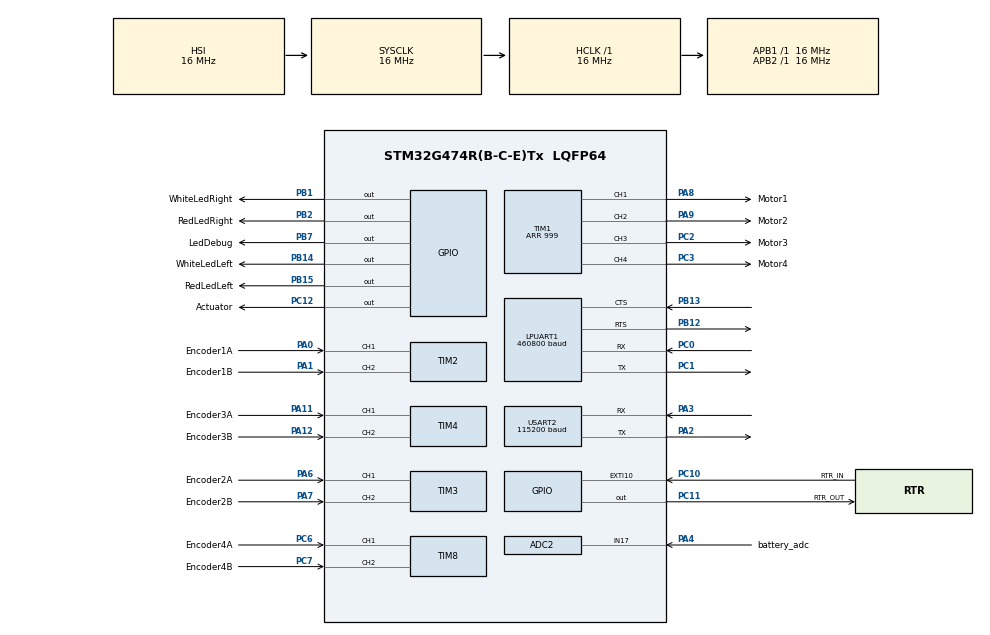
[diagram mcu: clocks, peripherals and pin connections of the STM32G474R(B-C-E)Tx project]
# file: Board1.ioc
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ADC1.Channel-1\#ChannelRegularConversion=ADC_CHANNEL_TEMPSENSOR_ADC1
ADC1.NbrOfConversionFlag=1
ADC1.OffsetNumber-1\#ChannelRegularConversion=ADC_OFFSET_NONE
ADC1.Rank-1\#ChannelRegularConversion=1
ADC1.SamplingTime-1\#ChannelRegularConversion=ADC_SAMPLETIME_92CYCLES_5
ADC1.master=1
ADC2.Channel-0\#ChannelRegularConversion=ADC_CHANNEL_17
ADC2.NbrOfConversionFlag=1
ADC2.OffsetNumber-0\#ChannelRegularConversion=ADC_OFFSET_NONE
ADC2.Rank-0\#ChannelRegularConversion=1
ADC2.SamplingTime-0\#ChannelRegularConversion=ADC_SAMPLETIME_24CYCLES_5
FREERTOS.Events01=flagsOS,Static,flagsOSControlBlock
FREERTOS.Mutexes01=speed_mutex,Static,speedControlBlock,Available;temperature_mutex,Static,temperature_mutexControlBlock,Available;battery_mutex,Static,battery_mutexControlBlock,Available;temperature_read_mutex,Static,temperature_read_mutexControlBlock,Available;battery_read_mutex,Static,battery_read_mutexControlBlock,Available;pid_deadline_mutex,Static,pid_deadline_mutexControlBlock,Available;temperature_deadline_mutex,Static,temperature_deadline_mutexControlBlock,Available;battery_deadline_mutex,Static,battery_deadline_mutexControlBlock,Available
FREERTOS.Tasks01=StartSegger,47,128,StartSeggerTask,Default,NULL,Static,StartSeggerBuffer,StartSeggerControlBlock;Synchronization,46,128,StartSynchronization,Default,NULL,Static,SynchronizationBuffer,SynchronizationControlBlock;PID,40,1024,StartPID,Default,NULL,Static,PIDBuffer,PIDControlBlock;Supervisor,32,2048,StartSupervisor,Default,NULL,Static,SupervisorBuffer,SupervisorControlBlock;ReadTemperature,24,1024,StartReadTemperature,Default,NULL,Static,ReadTemperatureBuffer,ReadTemperatureControlBlock;ReadBattery,8,1024,StartReadBattery,Default,NULL,Static,ReadBatteryBuffer,ReadBatteryControlBlock
FREERTOS.Timers01=toggleLeftRedLed,callbackToggleLeftRedLed,osTimerPeriodic,Default,NULL,Static,toggleLeftRedLedControlBlock;toggleRightRedLed,callbackToggleRightRedLed,osTimerPeriodic,Default,NULL,Static,toggleRightRedLedControlBlock
FREERTOS.configCHECK_FOR_STACK_OVERFLOW=0
FREERTOS.configGENERATE_RUN_TIME_STATS=0
FREERTOS.configUSE_NEWLIB_REENTRANT=1
FREERTOS.configUSE_STATS_FORMATTING_FUNCTIONS=0
LPUART1.BaudRate=460800
Mcu.Family=STM32G4
Mcu.Name=STM32G474R(B-C-E)Tx
Mcu.Package=LQFP64
NVIC.EXTI15_10_IRQn=true\:5\:0\:false\:false\:true\:true\:true\:true\:true
NVIC.LPUART1_IRQn=true\:5\:0\:true\:false\:true\:true\:true\:true\:true
NVIC.PriorityGroup=NVIC_PRIORITYGROUP_4
NVIC.TIM6_DAC_IRQn=true\:0\:0\:false\:false\:true\:false\:false\:true\:true
NVIC.TIM7_DAC_IRQn=true\:5\:0\:false\:false\:true\:true\:true\:true\:true
NVIC.TimeBase=TIM6_DAC_IRQn
NVIC.TimeBaseIP=TIM6
PA0.GPIO_Label=Encoder1A
PA0.Signal=S_TIM2_CH1
PA1.GPIO_Label=Encoder1B
PA1.Signal=S_TIM2_CH2
PA11.GPIO_Label=Encoder3A
PA11.Signal=S_TIM4_CH1
PA12.GPIO_Label=Encoder3B
PA12.Signal=S_TIM4_CH2
PA2.Mode=Asynchronous
PA2.Signal=USART2_TX
PA3.Mode=Asynchronous
PA3.Signal=USART2_RX
PA4.GPIO_Label=battery_adc
PA4.Mode=IN17-Single-Ended
PA4.Signal=ADC2_IN17
PA6.GPIO_Label=Encoder2A
PA6.Signal=S_TIM3_CH1
PA7.GPIO_Label=Encoder2B
PA7.Signal=S_TIM3_CH2
PA8.GPIO_Label=Motor1
PA8.Signal=S_TIM1_CH1
PA9.GPIO_Label=Motor2
PA9.Signal=S_TIM1_CH2
PB1.GPIO_Label=WhiteLedRight
PB1.Signal=GPIO_Output
PB12.Mode=CTS_RTS
PB12.Signal=LPUART1_RTS
PB13.Mode=CTS_RTS
PB13.Signal=LPUART1_CTS
PB14.GPIO_Label=WhiteLedLeft
PB14.Signal=GPIO_Output
PB15.GPIO_Label=RedLedLeft
PB15.Signal=GPIO_Output
PB2.GPIO_Label=RedLedRight
PB2.Signal=GPIO_Output
PB7.GPIO_Label=LedDebug
PB7.Signal=GPIO_Output
PC0.GPIO_PuPd=GPIO_PULLUP
PC0.Mode=Asynchronous
PC0.Signal=LPUART1_RX
PC1.Mode=Asynchronous
PC1.Signal=LPUART1_TX
PC10.GPIO_Label=RTR_IN
PC10.GPIO_ModeDefaultEXTI=GPIO_MODE_IT_RISING
PC10.GPIO_PuPd=GPIO_PULLDOWN
PC10.Signal=GPXTI10
PC11.GPIO_Label=RTR_OUT
PC11.Signal=GPIO_Output
PC12.GPIO_Label=Actuator
PC12.PinState=GPIO_PIN_SET
PC12.Signal=GPIO_Output
PC2.GPIO_Label=Motor3
PC2.Signal=S_TIM1_CH3
PC3.GPIO_Label=Motor4
PC3.Signal=S_TIM1_CH4
PC6.GPIO_Label=Encoder4A
PC6.Signal=S_TIM8_CH1
PC7.GPIO_Label=Encoder4B
PC7.Signal=S_TIM8_CH2
ProjectManager.HeapSize=0x200
ProjectManager.StackSize=0x400
ProjectManager.TargetToolchain=STM32CubeIDE
RCC.AHBFreq_Value=16000000
RCC.APB1Freq_Value=16000000
RCC.APB1TimFreq_Value=16000000
RCC.APB2Freq_Value=16000000
RCC.APB2TimFreq_Value=16000000
RCC.CortexFreq_Value=16000000
RCC.EXTERNAL_CLOCK_VALUE=12288000
RCC.HCLKFreq_Value=16000000
RCC.HSE_VALUE=8000000
RCC.HSI48_VALUE=48000000
RCC.HSI_VALUE=16000000
RCC.LSE_VALUE=32768
RCC.SYSCLKFreq_VALUE=16000000
RCC.USBFreq_Value=64000000
RCC.VCOOutputFreq_Value=128000000
SH.S_TIM1_CH1.0=TIM1_CH1,PWM Generation1 CH1
SH.S_TIM1_CH2.0=TIM1_CH2,PWM Generation2 CH2
SH.S_TIM1_CH3.0=TIM1_CH3,PWM Generation3 CH3
SH.S_TIM1_CH4.0=TIM1_CH4,PWM Generation4 CH4
SH.S_TIM2_CH1.0=TIM2_CH1,Encoder_Interface
SH.S_TIM2_CH2.0=TIM2_CH2,Encoder_Interface
SH.S_TIM3_CH1.0=TIM3_CH1,Encoder_Interface
SH.S_TIM3_CH2.0=TIM3_CH2,Encoder_Interface
SH.S_TIM4_CH1.0=TIM4_CH1,Encoder_Interface
SH.S_TIM4_CH2.0=TIM4_CH2,Encoder_Interface
SH.S_TIM8_CH1.0=TIM8_CH1,Encoder_Interface
SH.S_TIM8_CH2.0=TIM8_CH2,Encoder_Interface
TIM1.Channel-PWM\ Generation1\ CH1=TIM_CHANNEL_1
TIM1.Channel-PWM\ Generation2\ CH2=TIM_CHANNEL_2
TIM1.Channel-PWM\ Generation3\ CH3=TIM_CHANNEL_3
TIM1.Channel-PWM\ Generation4\ CH4=TIM_CHANNEL_4
TIM1.PeriodNoDither=999
TIM1.PulseNoDither_1=757
TIM1.PulseNoDither_2=757
TIM1.PulseNoDither_3=757
TIM1.PulseNoDither_4=757
TIM2.EncoderMode=TIM_ENCODERMODE_TI12
TIM2.IC1Filter=5
TIM2.IC2Filter=5
TIM3.EncoderMode=TIM_ENCODERMODE_TI12
TIM3.IC1Filter=5
TIM3.IC2Filter=5
TIM4.EncoderMode=TIM_ENCODERMODE_TI12
TIM4.IC1Filter=5
TIM4.IC2Filter=5
TIM7.PeriodNoDither=0
TIM7.Prescaler=65535
TIM8.EncoderMode=TIM_ENCODERMODE_TI12
TIM8.IC1Filter=5
TIM8.IC2Filter=5
USART2.BaudRate=115200
USART2.VirtualMode-Asynchronous=VM_ASYNC
VP_ADC1_TempSens_Input.Mode=IN-TempSens
VP_CRC_VS_CRC.Mode=CRC_Activate
VP_FREERTOS_VS_CMSIS_V2.Mode=CMSIS_V2
VP_SYS_VS_DBSignals.Mode=DisableDeadBatterySignals
VP_SYS_VS_tim6.Mode=TIM6
VP_TIM7_VS_ClockSourceINT.Mode=Enable_Timer
board=custom

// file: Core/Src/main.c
	/* USER CODE BEGIN Header */
/**
 ******************************************************************************
 * @file           : main.c
 * @brief          : Main program body
 ******************************************************************************
 * @attention
 *
 * Copyright (c) 2025 STMicroelectronics.
 * All rights reserved.
 *
 * This software is licensed under terms that can be found in the LICENSE file
 * in the root directory of this software component.
 * If no LICENSE file comes with this software, it is provided AS-IS.
 *
 ******************************************************************************
 */
/* USER CODE END Header */
#include "main.h"
#include "cmsis_os.h"
#include "adc.h"
#include "crc.h"
#include "usart.h"
#include "tim.h"
#include "gpio.h"

/* USER CODE BEGIN Includes */

/* UART Handler for communication inter board */
#include "uart_functions.h"

/* Simulink Model */
#include "Board1.h"

/* Drivers */
#include "lights_init.h"     // #include "a4wd3_led.h"
#include "encoders_init.h"   // #include "encoders.h"
#include "motors_init.h"
/*
 #include "motors_control.h"
 #include "motor_constants.h"
 #include "regulator.h"
 */
#include "battery_init.h"        // #include "batt_level.h"
#include "temperature_init.h"    //#include "temperature_adc.h"
#include "timer.h"

/* Utility */
#include "DWT.h"
#include "print.h"
#include "debug.h"
#include "phase.h"

/* USER CODE END Includes */

/* USER CODE BEGIN PD */

#define TIM7_IN_FREQUENCY (16000000) /* 16 MHz */

/* --- DEBUG CONFIGURATIONS --- */

#if VERBOSE_DEBUG_MAIN == 1
#define PRINT_DBG(msg) printMsg(msg)
#else
	#define PRINT_DBG(msg) ((void)0)
#endif
/* ---------------------------- */
/* USER CODE END PD */

/* USER CODE BEGIN PV */

volatile system_phase_t system_phase = SYNCHRONIZATION_START;

timer_t timerSupervisor;

/* USER CODE END PV */

void SystemClock_Config(void);
void MX_FREERTOS_Init(void);

int main(void)
{

  /* MCU Configuration--------------------------------------------------------*/

  /* Reset of all peripherals, Initializes the Flash interface and the Systick. */
  HAL_Init();

  /* Configure the system clock */
  SystemClock_Config();

  /* Initialize all configured peripherals */
  MX_GPIO_Init();
  MX_LPUART1_UART_Init();
  MX_USART2_UART_Init();
  MX_CRC_Init();
  MX_TIM2_Init();
  MX_TIM3_Init();
  MX_TIM4_Init();
  MX_TIM8_Init();
  MX_ADC2_Init();
  MX_ADC1_Init();
  MX_TIM1_Init();
  MX_TIM7_Init();
  /* USER CODE BEGIN 2 */

	/* Init DWT for WCET measurement */

	DWT_Init();

	/* Set UART Handlers */

	setComunicationHandler(&hlpuart1);

	setPrinterHandler(&huart2);

#if VERBOSE_DEBUG_MAIN

	clearScreen();

#endif

	PRINT_DBG("BEGIN B1 INIT...\r\n\n\n");

	/* Init Simulink Model with default values */
	Board1_initialize();
	Board1_U.speed = (BUS_Speed ) { 0.0f, 0.0f, 0.0f, 0.0f };
	Board1_U.batteryLevel = 0;
	Board1_U.temperature = 0.0f;
	Board1_U.areSensorsValid = 0;
	Board1_U.timeoutOccurred = 0;

	/* Init drivers */

	led_init();

	Encoders_InitAll();
	Encoders_StartAll();

	Motors_InitAll();
	Motors_StartAllPwm();
	Motors_SetDefaultCcr(757);

	for (int i = 0; i < N_MOTORS; i++){
		MotorControl_SetReferenceRPM(&motors[i], 0.0f);
		MotorControl_OpenLoopActuate(&motors[i]);
	}

	temperature_sensor_init();
	battery_sensor_init();

	if (timer_init(&timerSupervisor, &htim7, TIM7_IN_FREQUENCY) != TIMER_OK) {
		return -1;
	}

  /* USER CODE END 2 */

  /* Init scheduler */
  osKernelInitialize();  /* Call init function for freertos objects (in cmsis_os2.c) */
  MX_FREERTOS_Init();

  /* Start scheduler */
  osKernelStart();

  /* We should never get here as control is now taken by the scheduler */

  /* Infinite loop */
	while (1) {

	}
}

void SystemClock_Config(void)
{
  RCC_OscInitTypeDef RCC_OscInitStruct = {0};
  RCC_ClkInitTypeDef RCC_ClkInitStruct = {0};

  /** Configure the main internal regulator output voltage
  */
  HAL_PWREx_ControlVoltageScaling(PWR_REGULATOR_VOLTAGE_SCALE1);

  /** Initializes the RCC Oscillators according to the specified parameters
  * in the RCC_OscInitTypeDef structure.
  */
  RCC_OscInitStruct.OscillatorType = RCC_OSCILLATORTYPE_HSI;
  RCC_OscInitStruct.HSIState = RCC_HSI_ON;
  RCC_OscInitStruct.HSICalibrationValue = RCC_HSICALIBRATION_DEFAULT;
  RCC_OscInitStruct.PLL.PLLState = RCC_PLL_NONE;
  if (HAL_RCC_OscConfig(&RCC_OscInitStruct) != HAL_OK)
  {
    Error_Handler();
  }

  /** Initializes the CPU, AHB and APB buses clocks
  */
  RCC_ClkInitStruct.ClockType = RCC_CLOCKTYPE_HCLK|RCC_CLOCKTYPE_SYSCLK
                              |RCC_CLOCKTYPE_PCLK1|RCC_CLOCKTYPE_PCLK2;
  RCC_ClkInitStruct.SYSCLKSource = RCC_SYSCLKSOURCE_HSI;
  RCC_ClkInitStruct.AHBCLKDivider = RCC_SYSCLK_DIV1;
  RCC_ClkInitStruct.APB1CLKDivider = RCC_HCLK_DIV1;
  RCC_ClkInitStruct.APB2CLKDivider = RCC_HCLK_DIV1;

  if (HAL_RCC_ClockConfig(&RCC_ClkInitStruct, FLASH_LATENCY_0) != HAL_OK)
  {
    Error_Handler();
  }
}

void HAL_TIM_PeriodElapsedCallback(TIM_HandleTypeDef *htim)
{
  if (htim->Instance == TIM6)
  {
    HAL_IncTick();
  }
  /* USER CODE BEGIN Callback 1 */
	if (htim->Instance == TIM7) {
		static uint8_t first_time = 0;

		if (first_time == 0) {
			first_time = 1;
			return;
		} else {
			timer_period_elapsed(&timerSupervisor, htim);
			Board1_U.timeoutOccurred++;
			timer_reset(&timerSupervisor);
#if VERBOSE_DEBUG_IT == 1
			printMsg("SupervisorB1 WCET exceeded!\n\n");
#endif
		}
	}
  /* USER CODE END Callback 1 */
}

void Error_Handler(void)
{
	__disable_irq();
	while (1) {
	}
}

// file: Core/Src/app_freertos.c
/* USER CODE BEGIN Header */
/*
 * This program is free software; you can redistribute it and/or modify
 * it under the terms of the GNU General Public License as published by
 * the Free Software Foundation; either version 3 of the License, or
 * (at your option) any later version.
 *
 * This program is distributed in the hope that it will be useful,
 * but WITHOUT ANY WARRANTY; without even the implied warranty of
 * MERCHANTABILITY or FITNESS FOR A PARTICULAR PURPOSE.  See the
 * GNU General Public License for more details.
 *
 * You should have received a copy of the GNU General Public License
 * along with this program. If not, see <http://www.gnu.org/licenses/>.
 */

/**
 * @file app_freertos.c
 * @brief FreeRTOS application entry point and task definitions for Board1.
 *
 * Contains all RTOS task implementations (PID, Supervisor, ReadTemperature,
 * ReadBattery, Synchronization, Segger), timer callbacks, and shared variables
 * for the Board1 real-time control application.
 */
/* USER CODE END Header */

#include "FreeRTOS.h"
#include "task.h"
#include "main.h"
#include "cmsis_os.h"

/* USER CODE BEGIN Includes */

/* OS */
#include "scheduling_constants.h"
#include "event_flags_constant.h"
#include "sync_start.h"
#include "freeRTOS_functions.h"

/* Simulink Model */
#include "Board1.h"

/* Drivers */
#include "lights_init.h"     // #include "a4wd3_led.h"
#include "encoders_init.h"   // #include "encoders.h"
#include "motors_init.h"
/*
 #include "motors_control.h"
 #include "motor_constants.h"
 #include "regulator.h"
 */
#include "battery_init.h"        // #include "batt_level.h"
#include "temperature_init.h"    //#include "temperature_adc.h"
#include "timer.h"

/* Utility */
#include "DWT.h"
#include "print.h"
#include "debug.h"
#include "phase.h"

/* USER CODE END Includes */

typedef StaticTask_t osStaticThreadDef_t;
typedef StaticTimer_t osStaticTimerDef_t;
typedef StaticSemaphore_t osStaticMutexDef_t;
typedef StaticEventGroup_t osStaticEventGroupDef_t;

/* USER CODE BEGIN PD */

#if SEGGER_BUILD
#include "SEGGER_SYSVIEW_FreeRTOS.h"
#endif

/* USER CODE END PD */

/* USER CODE BEGIN Variables */

/* Global start tick (set after synchronization) */
/* Shared variable that does not require the use of a mutex because
 * the synchronization task writes it once at the end of synchronization,
 * and all other tasks only read it afterward.
 */
volatile uint32_t start_tick = 0;

/* MISS COUNTERS, shared variables */
volatile uint32_t MissPID = 0;
volatile uint32_t MissReadTemperature = 0;
volatile uint32_t MissReadBattery = 0;
// Supervisor task doesn't require a deadline

/* STATUS FLAGS, shared variables */
// encoders can't fail read
uint8_t temperature_read_failed = 0;
uint8_t battery_read_failed = 0;

/* TASK OUTPUT VARIABLES, shared variables */
volatile BUS_Speed task_speed = { 0.0f, 0.0f, 0.0f, 0.0f };
volatile Temperature task_temperature = 0.0f;
volatile BatteryLevel task_batteryLevel = 0;

/* Timer Handler from main.c */
extern timer_t timerSupervisor;

/* USER CODE END Variables */
/* Definitions for StartSegger */
osThreadId_t StartSeggerHandle;
uint32_t StartSeggerBuffer[128];
osStaticThreadDef_t StartSeggerControlBlock;
const osThreadAttr_t StartSegger_attributes = { .name = "StartSegger",
		.stack_mem = &StartSeggerBuffer[0], .stack_size =
				sizeof(StartSeggerBuffer), .cb_mem = &StartSeggerControlBlock,
		.cb_size = sizeof(StartSeggerControlBlock), .priority =
				(osPriority_t) osPriorityHigh7, };
/* Definitions for Synchronization */
osThreadId_t SynchronizationHandle;
uint32_t SynchronizationBuffer[128];
osStaticThreadDef_t SynchronizationControlBlock;
const osThreadAttr_t Synchronization_attributes = { .name = "Synchronization",
		.stack_mem = &SynchronizationBuffer[0], .stack_size =
				sizeof(SynchronizationBuffer), .cb_mem =
				&SynchronizationControlBlock, .cb_size =
				sizeof(SynchronizationControlBlock), .priority =
				(osPriority_t) osPriorityHigh6, };
/* Definitions for PID */
osThreadId_t PIDHandle;
uint32_t PIDBuffer[1024];
osStaticThreadDef_t PIDControlBlock;
const osThreadAttr_t PID_attributes = { .name = "PID", .stack_mem =
		&PIDBuffer[0], .stack_size = sizeof(PIDBuffer), .cb_mem =
		&PIDControlBlock, .cb_size = sizeof(PIDControlBlock), .priority =
		(osPriority_t) osPriorityHigh, };
/* Definitions for Supervisor */
osThreadId_t SupervisorHandle;
uint32_t SupervisorBuffer[2048];
osStaticThreadDef_t SupervisorControlBlock;
const osThreadAttr_t Supervisor_attributes = { .name = "Supervisor",
		.stack_mem = &SupervisorBuffer[0], .stack_size =
				sizeof(SupervisorBuffer), .cb_mem = &SupervisorControlBlock,
		.cb_size = sizeof(SupervisorControlBlock), .priority =
				(osPriority_t) osPriorityAboveNormal, };
/* Definitions for ReadTemperature */
osThreadId_t ReadTemperatureHandle;
uint32_t ReadTemperatureBuffer[1024];
osStaticThreadDef_t ReadTemperatureControlBlock;
const osThreadAttr_t ReadTemperature_attributes = { .name = "ReadTemperature",
		.stack_mem = &ReadTemperatureBuffer[0], .stack_size =
				sizeof(ReadTemperatureBuffer), .cb_mem =
				&ReadTemperatureControlBlock, .cb_size =
				sizeof(ReadTemperatureControlBlock), .priority =
				(osPriority_t) osPriorityNormal, };
/* Definitions for ReadBattery */
osThreadId_t ReadBatteryHandle;
uint32_t ReadBatteryBuffer[1024];
osStaticThreadDef_t ReadBatteryControlBlock;
const osThreadAttr_t ReadBattery_attributes = { .name = "ReadBattery",
		.stack_mem = &ReadBatteryBuffer[0], .stack_size =
				sizeof(ReadBatteryBuffer), .cb_mem = &ReadBatteryControlBlock,
		.cb_size = sizeof(ReadBatteryControlBlock), .priority =
				(osPriority_t) osPriorityLow, };
/* Definitions for toggleLeftRedLed */
osTimerId_t toggleLeftRedLedHandle;
osStaticTimerDef_t toggleLeftRedLedControlBlock;
const osTimerAttr_t toggleLeftRedLed_attributes = { .name = "toggleLeftRedLed",
		.cb_mem = &toggleLeftRedLedControlBlock, .cb_size =
				sizeof(toggleLeftRedLedControlBlock), };
/* Definitions for toggleRightRedLed */
osTimerId_t toggleRightRedLedHandle;
osStaticTimerDef_t toggleRightRedLedControlBlock;
const osTimerAttr_t toggleRightRedLed_attributes = {
		.name = "toggleRightRedLed", .cb_mem = &toggleRightRedLedControlBlock,
		.cb_size = sizeof(toggleRightRedLedControlBlock), };
/* Definitions for speed_mutex */
osMutexId_t speed_mutexHandle;
osStaticMutexDef_t speedControlBlock;
const osMutexAttr_t speed_mutex_attributes = { .name = "speed_mutex", .cb_mem =
		&speedControlBlock, .cb_size = sizeof(speedControlBlock), };
/* Definitions for temperature_mutex */
osMutexId_t temperature_mutexHandle;
osStaticMutexDef_t temperature_mutexControlBlock;
const osMutexAttr_t temperature_mutex_attributes = {
		.name = "temperature_mutex", .cb_mem = &temperature_mutexControlBlock,
		.cb_size = sizeof(temperature_mutexControlBlock), };
/* Definitions for battery_mutex */
osMutexId_t battery_mutexHandle;
osStaticMutexDef_t battery_mutexControlBlock;
const osMutexAttr_t battery_mutex_attributes = { .name = "battery_mutex",
		.cb_mem = &battery_mutexControlBlock, .cb_size =
				sizeof(battery_mutexControlBlock), };
/* Definitions for temperature_read_mutex */
osMutexId_t temperature_read_mutexHandle;
osStaticMutexDef_t temperature_read_mutexControlBlock;
const osMutexAttr_t temperature_read_mutex_attributes = { .name =
		"temperature_read_mutex", .cb_mem = &temperature_read_mutexControlBlock,
		.cb_size = sizeof(temperature_read_mutexControlBlock), };
/* Definitions for battery_read_mutex */
osMutexId_t battery_read_mutexHandle;
osStaticMutexDef_t battery_read_mutexControlBlock;
const osMutexAttr_t battery_read_mutex_attributes = { .name =
		"battery_read_mutex", .cb_mem = &battery_read_mutexControlBlock,
		.cb_size = sizeof(battery_read_mutexControlBlock), };
/* Definitions for pid_deadline_mutex */
osMutexId_t pid_deadline_mutexHandle;
osStaticMutexDef_t pid_deadline_mutexControlBlock;
const osMutexAttr_t pid_deadline_mutex_attributes = { .name =
		"pid_deadline_mutex", .cb_mem = &pid_deadline_mutexControlBlock,
		.cb_size = sizeof(pid_deadline_mutexControlBlock), };
/* Definitions for temperature_deadline_mutex */
osMutexId_t temperature_deadline_mutexHandle;
osStaticMutexDef_t temperature_deadline_mutexControlBlock;
const osMutexAttr_t temperature_deadline_mutex_attributes = { .name =
		"temperature_deadline_mutex", .cb_mem =
		&temperature_deadline_mutexControlBlock, .cb_size =
		sizeof(temperature_deadline_mutexControlBlock), };
/* Definitions for battery_deadline_mutex */
osMutexId_t battery_deadline_mutexHandle;
osStaticMutexDef_t battery_deadline_mutexControlBlock;
const osMutexAttr_t battery_deadline_mutex_attributes = { .name =
		"battery_deadline_mutex", .cb_mem = &battery_deadline_mutexControlBlock,
		.cb_size = sizeof(battery_deadline_mutexControlBlock), };
/* Definitions for flagsOS */
osEventFlagsId_t flagsOSHandle;
osStaticEventGroupDef_t flagsOSControlBlock;
const osEventFlagsAttr_t flagsOS_attributes = { .name = "flagsOS", .cb_mem =
		&flagsOSControlBlock, .cb_size = sizeof(flagsOSControlBlock), };

/* USER CODE BEGIN FunctionPrototypes */

/* SCHEDULING FUNCTIONS */

static uint32_t ms_to_ticks(uint32_t ms);
static void periodic_wait(uint32_t *next_release, uint32_t period_ticks,
		volatile uint32_t *miss_counter, osMutexId_t miss_mutex);

/* DECISION FUNCTIONS */
static inline void compute_sensors_validity(uint8_t *out_validity);
static inline void compute_deadline_misses(uint8_t *out_deadline);
static inline void copy_sensor_inputs(BUS_Speed *out_speed,
		Temperature *out_temperature, BatteryLevel *out_batteryLevel);
static inline void actuate_white_leds(void);
static inline void change_set_point(void);
static inline void change_regulator(void);

/* PRODUCTION FUNCTIONS */
static inline void manage_degraded_mode_toggle(uint16_t current_buttons);

/* USER CODE END FunctionPrototypes */

void StartSeggerTask(void *argument);
void StartSynchronization(void *argument);
void StartPID(void *argument);
void StartSupervisor(void *argument);
void StartReadTemperature(void *argument);
void StartReadBattery(void *argument);
void callbackToggleLeftRedLed(void *argument);
void callbackToggleRightRedLed(void *argument);

void MX_FREERTOS_Init(void); /* (MISRA C 2004 rule 8.1) */

void MX_FREERTOS_Init(void) {
	/* Create the mutex(es) */
	/* creation of speed_mutex */
	speed_mutexHandle = osMutexNew(&speed_mutex_attributes);

	/* creation of temperature_mutex */
	temperature_mutexHandle = osMutexNew(&temperature_mutex_attributes);

	/* creation of battery_mutex */
	battery_mutexHandle = osMutexNew(&battery_mutex_attributes);

	/* creation of temperature_read_mutex */
	temperature_read_mutexHandle = osMutexNew(
			&temperature_read_mutex_attributes);

	/* creation of battery_read_mutex */
	battery_read_mutexHandle = osMutexNew(&battery_read_mutex_attributes);

	/* creation of pid_deadline_mutex */
	pid_deadline_mutexHandle = osMutexNew(&pid_deadline_mutex_attributes);

	/* creation of temperature_deadline_mutex */
	temperature_deadline_mutexHandle = osMutexNew(
			&temperature_deadline_mutex_attributes);

	/* creation of battery_deadline_mutex */
	battery_deadline_mutexHandle = osMutexNew(
			&battery_deadline_mutex_attributes);

	/* Create the timer(s) */
	/* creation of toggleLeftRedLed */
	toggleLeftRedLedHandle = osTimerNew(callbackToggleLeftRedLed,
			osTimerPeriodic, NULL, &toggleLeftRedLed_attributes);

	/* creation of toggleRightRedLed */
	toggleRightRedLedHandle = osTimerNew(callbackToggleRightRedLed,
			osTimerPeriodic, NULL, &toggleRightRedLed_attributes);

	/* USER CODE BEGIN RTOS_TIMERS */
	timer_set_period(&timerSupervisor, WCET_SUPERVISOR_MS);
	/* USER CODE END RTOS_TIMERS */

	/* Create the thread(s) */
	/* creation of StartSegger */
	StartSeggerHandle = osThreadNew(StartSeggerTask, NULL,
			&StartSegger_attributes);

	/* creation of Synchronization */
	SynchronizationHandle = osThreadNew(StartSynchronization, NULL,
			&Synchronization_attributes);

	/* creation of PID */
	PIDHandle = osThreadNew(StartPID, NULL, &PID_attributes);

	/* creation of Supervisor */
	SupervisorHandle = osThreadNew(StartSupervisor, NULL,
			&Supervisor_attributes);

	/* creation of ReadTemperature */
	ReadTemperatureHandle = osThreadNew(StartReadTemperature, NULL,
			&ReadTemperature_attributes);

	/* creation of ReadBattery */
	ReadBatteryHandle = osThreadNew(StartReadBattery, NULL,
			&ReadBattery_attributes);

	/* creation of flagsOS */
	flagsOSHandle = osEventFlagsNew(&flagsOS_attributes);

	/* USER CODE BEGIN RTOS_EVENTS */
	Sync_Init(flagsOSHandle,
	RTR_IN_GPIO_Port, RTR_IN_Pin,
	RTR_OUT_GPIO_Port, RTR_OUT_Pin,
	FLAG_START, FLAG_SYNC, FLAG_ACK);
	/* USER CODE END RTOS_EVENTS */

}

void StartSeggerTask(void *argument) {
	/* USER CODE BEGIN StartSeggerTask */
#if SEGGER_BUILD
	  SEGGER_SYSVIEW_Conf();
	  SEGGER_SYSVIEW_Start();
#endif
	/* Infinite loop */
	for (;;) {
		break;
	}
	osThreadTerminate(osThreadGetId());

	/* USER CODE END StartSeggerTask */
}

/* USER CODE BEGIN Header_StartSynchronization */
// This feature is extern to the library behavior
extern volatile system_phase_t system_phase;
/**
 * @brief Function implementing the Synchronization thread.
 * @param argument: Not used
 * @retval None
 */
/* USER CODE END Header_StartSynchronization */
void StartSynchronization(void *argument) {
	/* USER CODE BEGIN StartSynchronization */
#if RUN_SYNCHRONIZATION

	system_phase = SYNCHRONIZATION_START;

	SyncThread();

	/* Synchronization completed: define common time-base for periodic tasks */
	start_tick = osKernelGetTickCount();

	system_phase = WORKING_PHASE;

	HAL_GPIO_WritePin(RTR_OUT_GPIO_Port, RTR_OUT_Pin, GPIO_PIN_RESET);

#if LED_DEBUG
	HAL_GPIO_WritePin(LedDebug_GPIO_Port, LedDebug_Pin, GPIO_PIN_SET);
#endif

#endif

	// Termination, if clock drift is not critical
	osThreadTerminate(osThreadGetId());

	/* USER CODE END StartSynchronization */
}

void StartPID(void *argument) {
	/* USER CODE BEGIN StartPID */
#if RUN_PID

	Sync_WaitStart();

	const uint32_t T = ms_to_ticks(T_PID);
	uint32_t next = start_tick;

	float current_speed[4] = { 0.0f, 0.0f, 0.0f, 0.0f };

	/* Infinite loop */
	for (;;) {

#if REAL_TASK

		/* READ ENCODERS AND UPDATE SPEEDS */
		for (int i = 0; i < 4; i++) {
			Encoder_Update(&encoders[i]);
			current_speed[i] = Encoder_GetSpeedRPM(&encoders[i]);
		}

		/* UPDATE TASK VARIABLE */
		osMutexAcquire(speed_mutexHandle, osWaitForever);
		task_speed = (BUS_Speed ) { current_speed[0], current_speed[1],
						current_speed[2], current_speed[3] };
		osMutexRelease(speed_mutexHandle);

		/* EXECUTE MOTOR CONTROL */
		for (int i = 0; i < 4; i++) {
			MotorControl_ClosedLoop(&motors[i], current_speed[i]);
			//MotorControl_OpenLoopActuate(&motors[i]);
		}

#if PRINT_TASK
        //printMotorSpeeds(&Board1_U.speed);
#endif

#else
		task_speed = (BUS_Speed ) { current_speed[0], current_speed[1],
						current_speed[2], current_speed[3] };
		DWT_DelayUs(WCET_PID);
#endif

		periodic_wait(&next, T, &MissPID, pid_deadline_mutexHandle);
	}
#endif

	osThreadTerminate(osThreadGetId());

	/* USER CODE END StartPID */
}

void StartSupervisor(void *argument) {
	/* USER CODE BEGIN StartSupervisor */
#if RUN_SUPERVISOR

	Sync_WaitStart();

	const uint32_t T = ms_to_ticks(T_SUPERVISOR);
	uint32_t next = start_tick;

	periodic_wait(&next, T, NULL, NULL);  // Skip first communication

	/* Infinite loop */
	for (;;) {

		/* Copy task variables into Simulink model inputs */
		copy_sensor_inputs(&Board1_U.speed, &Board1_U.temperature,
				&Board1_U.batteryLevel);
		compute_sensors_validity(&Board1_U.areSensorsValid);
		compute_deadline_misses(&Board1_U.deadlineOccurred);

		manage_degraded_mode_toggle(
				Board1_Y.board1GlobalState.localStateB2.remoteController.buttons);

		/* Abort checks */
		if(Board1_U.batteryLevel <= 23) {
			Board1_U.batteryLevel  = 40;
		}

//		Board1_U.areSensorsValid = 0;
//		Board1_U.deadlineOccurred = 0;

#if PRINT_RESULT
		do {
			Board1_step();
		} while (Board1_Y.supervision_ended != 1);
#else
		/* START TIMER FOR MONITORING WCET */
		timer_start(&timerSupervisor);

		do {
			Board1_step();
			//Board1_U.timeoutOccurred++;

		} while (Board1_Y.supervision_ended != 1);

		/* STOP TIMER FOR MONITORING WCET */
		timer_reset(&timerSupervisor);
#endif

		/* FINALIZING DECISION */
		actuate_white_leds();
		change_set_point();
		change_regulator();

		/* BEGIN PRINT SECTION */
		static uint32_t cycle_count = 0;
		cycle_count++;

		//printMsg("Cycle Count B1: ");
		//printInt((int32_t)cycle_count);
		//printNewLine();

		//printMotorSpeeds(&Board1_U.speed);

		if (cycle_count >= 100) { // Approx 2 seconds (50ms * 40)
			cycle_count = 0;
#if PRINT_RESULT
			printGlobalState(&Board1_Y.board1GlobalState);
			printDecision(&Board1_Y.board1Decision);
#endif
		}

		/* END PRINT SECTION */

		periodic_wait(&next, T, NULL, NULL);

	}

#endif

	osThreadTerminate(osThreadGetId());

	/* USER CODE END StartSupervisor */
}

void StartReadTemperature(void *argument) {
	/* USER CODE BEGIN StartReadTemperature */
#if RUN_READ_TEMPERATURE

	Sync_WaitStart();

	const uint32_t T = ms_to_ticks(T_TEMPERATURE);
	uint32_t next = start_tick;

	/* Infinite loop */
	for (;;) {

#if REAL_TASK

		float temp_val = 0.0f;

		if (temp_internal_read_temperature(&temp_sensor, &temp_val) == 0) {
			osMutexAcquire(temperature_mutexHandle, osWaitForever);
			task_temperature = (Temperature) temp_val;
			osMutexRelease(temperature_mutexHandle);

			osMutexAcquire(temperature_read_mutexHandle, osWaitForever);
			temperature_read_failed = 0;
			osMutexRelease(temperature_read_mutexHandle);
		} else {
			osMutexAcquire(temperature_mutexHandle, osWaitForever);
			task_temperature = -255.0f;
			osMutexRelease(temperature_mutexHandle);

			osMutexAcquire(temperature_read_mutexHandle, osWaitForever);
			temperature_read_failed = 1;
			osMutexRelease(temperature_read_mutexHandle);
		}

#if PRINT_TASK
        printTemperature(task_temperature);
#endif

#else
        task_temperature = 32.3f;
		DWT_DelayUs(WCET_TEMPERATURE);
#endif

		periodic_wait(&next, T, &MissReadTemperature,
				temperature_deadline_mutexHandle);
	}

#endif

	osThreadTerminate(osThreadGetId());

	/* USER CODE END StartReadTemperature */
}

void StartReadBattery(void *argument) {
	/* USER CODE BEGIN StartReadBattery */
#if RUN_READ_BATTERY

	Sync_WaitStart();

	const uint32_t T = ms_to_ticks(T_BATTERY);
	uint32_t next = start_tick;

	/* Infinite loop */
	for (;;) {

#if REAL_TASK

		BatteryLevel batt_val = 0;

		if (battery_get_percentage_linear(battery_read_voltage(&battery),
		MIN_VOLTAGE, MAX_VOLTAGE, &batt_val) == 0) {
			osMutexAcquire(battery_mutexHandle, osWaitForever);
			task_batteryLevel = batt_val;
			osMutexRelease(battery_mutexHandle);

			osMutexAcquire(battery_read_mutexHandle, osWaitForever);
			battery_read_failed = 0;
			osMutexRelease(battery_read_mutexHandle);
		} else {
			osMutexAcquire(battery_mutexHandle, osWaitForever);
			task_batteryLevel = 255;
			osMutexRelease(battery_mutexHandle);

			osMutexAcquire(battery_read_mutexHandle, osWaitForever);
			battery_read_failed = 1;
			osMutexRelease(battery_read_mutexHandle);
		}

#if PRINT_TASK
        printBattery(task_batteryLevel);
#endif

#else
        task_batteryLevel = 32;
		DWT_DelayUs(WCET_BATTERY);
#endif

		periodic_wait(&next, T, &MissReadBattery, battery_deadline_mutexHandle);
	}

#endif

	osThreadTerminate(osThreadGetId());

	/* USER CODE END StartReadBattery */
}

/* callbackToggleLeftRedLed function */
void callbackToggleLeftRedLed(void *argument) {
	/* USER CODE BEGIN callbackToggleLeftRedLed */
	A4WD3_Red_Toggle(&led_left);
	/* USER CODE END callbackToggleLeftRedLed */
}

/* callbackToggleRightRedLed function */
void callbackToggleRightRedLed(void *argument) {
	/* USER CODE BEGIN callbackToggleRightRedLed */
	A4WD3_Red_Toggle(&led_right);
	/* USER CODE END callbackToggleRightRedLed */
}

/* USER CODE BEGIN Application */

/* SCHEDULING FUNCTIONS */

static uint32_t ms_to_ticks(uint32_t ms) {
	uint32_t hz = osKernelGetTickFreq();
	return (ms * hz + 999u) / 1000u;
}

static void periodic_wait(uint32_t *next_release, uint32_t period_ticks,
		volatile uint32_t *miss_counter, osMutexId_t miss_mutex) {
	uint32_t now = osKernelGetTickCount();

	/* Calcola il prossimo rilascio */
	*next_release += period_ticks;

	/* Controlla se il task ha sforato */
	if ((int32_t) (now - *next_release) > 0) {
		if (miss_counter != NULL) {
			if (miss_mutex != NULL) {
				osMutexAcquire(miss_mutex, osWaitForever);
			}
			(*miss_counter)++;
			if (miss_mutex != NULL) {
				osMutexRelease(miss_mutex);
			}
		}
	}

	/* Sleep assoluta fino al prossimo periodo */
	osDelayUntil(*next_release);
}

/* DECISION FUNCTIONS */

static inline void compute_sensors_validity(uint8_t *out_validity) {
	/* Convert singular errors into global flags for the Simulink model */
	uint8_t temp = 0;

	osMutexAcquire(temperature_read_mutexHandle, osWaitForever);
	temp |= (temperature_read_failed & 0x01) << 1;
	temperature_read_failed = 0;
	osMutexRelease(temperature_read_mutexHandle);

	osMutexAcquire(battery_read_mutexHandle, osWaitForever);
	temp |= (battery_read_failed & 0x01) << 2;
	battery_read_failed = 0;
	osMutexRelease(battery_read_mutexHandle);

	*out_validity = temp;
}

static inline void compute_deadline_misses(uint8_t *out_deadline) {
	/* Convert non-zero miss counters into a bitmask for the Simulink model */
	uint8_t temp = 0;

	osMutexAcquire(pid_deadline_mutexHandle, osWaitForever);
	if (MissPID != 0) {
		temp |= (1u << 0);
		MissPID = 0;
	}
	osMutexRelease(pid_deadline_mutexHandle);

	osMutexAcquire(temperature_deadline_mutexHandle, osWaitForever);
	if (MissReadTemperature != 0) {
		temp |= (1u << 2);
		MissReadTemperature = 0;
	}
	osMutexRelease(temperature_deadline_mutexHandle);

	osMutexAcquire(battery_deadline_mutexHandle, osWaitForever);
	if (MissReadBattery != 0) {
		temp |= (1u << 3);
		MissReadBattery = 0;
	}
	osMutexRelease(battery_deadline_mutexHandle);

	*out_deadline = temp;
}

static inline void copy_sensor_inputs(BUS_Speed *out_speed,
		Temperature *out_temperature, BatteryLevel *out_batteryLevel) {
	osMutexAcquire(speed_mutexHandle, osWaitForever);
	*out_speed = task_speed;
	osMutexRelease(speed_mutexHandle);

	osMutexAcquire(temperature_mutexHandle, osWaitForever);
	*out_temperature = task_temperature;
	osMutexRelease(temperature_mutexHandle);

	osMutexAcquire(battery_mutexHandle, osWaitForever);
	*out_batteryLevel = task_batteryLevel;
	osMutexRelease(battery_mutexHandle);
}

static inline void actuate_white_leds(void) {
	A4WD3_White_Set(&led_left, Board1_Y.board1Decision.leds.white.left);
	A4WD3_White_Set(&led_right, Board1_Y.board1Decision.leds.white.right);
}

static inline void change_set_point(void) {
	static BUS_SetPoint previous_set_point = { 0.0f, 0.0f };

	if (BUS_SetPoint_Equals(&Board1_Y.board1Decision.setPoint,
			&previous_set_point) == 1) {
		// No change in set point, skip update
		return;
	}

	const float left = Board1_Y.board1Decision.setPoint.leftAxis;
	const float right = Board1_Y.board1Decision.setPoint.rightAxis;

	MotorControl_SetReferenceRPM(&motors[MOTOR_FRONT_LEFT], left);
	MotorControl_SetReferenceRPM(&motors[MOTOR_REAR_LEFT], left);

	MotorControl_SetReferenceRPM(&motors[MOTOR_FRONT_RIGHT], right);
	MotorControl_SetReferenceRPM(&motors[MOTOR_REAR_RIGHT], right);

	previous_set_point = Board1_Y.board1Decision.setPoint;
}

static inline void change_regulator(void) {
	const uint8_t action = Board1_Y.board1Decision.roverAction;

	switch (action) {
	case RA_BRAKING_SMOOTH:
		for (int i = 0; i < N_MOTORS; i++) {
			MotorControl_SetRegulator(&motors[i], &pid_slow[i]);
		}
		break;

	case RA_BRAKING_MODERATE:
		for (int i = 0; i < N_MOTORS; i++) {
			MotorControl_SetRegulator(&motors[i], &pid_medium[i]);
		}
		break;

	default:
		for (int i = 0; i < N_MOTORS; i++) {
			MotorControl_SetRegulator(&motors[i], &pid_fast[i]);
		}
		break;
	}
}

/* PRODUCTION FUNCTIONS */

static inline void manage_degraded_mode_toggle(uint16_t current_buttons) {
	#include "controller_masks.h"

	static uint16_t previousButtons = 0;
	static uint8_t degraded_mode_latched = 0;

	uint16_t risingEdges = (~previousButtons) & current_buttons;

	/* Latch on rising edge: once pressed, stays active forever */
	if (risingEdges & ENTER_DEGRADED_MODE) {
		degraded_mode_latched = 1;
	}

	if (degraded_mode_latched) {
		Board1_U.areSensorsValid = 1;
	}

	previousButtons = current_buttons;
}

/* USER CODE END Application */
